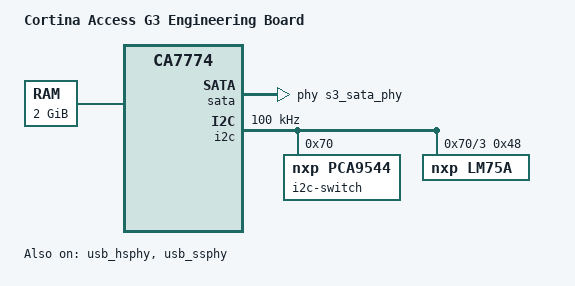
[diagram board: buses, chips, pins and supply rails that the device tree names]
/*
 * dts file for Cortina Access G3 ASIC Development Board
 *
 * Copyright (C) 2017, Cortina Access
 *
 */

/dts-v1/;

#include <dt-bindings/gpio/gpio.h>
#include "ca7774-soc_asic.dtsi"
#include "ca7774-soc-clks.dtsi"
#include "ca77xx-nand.dtsi"
#include "ca77xx-crypto.dtsi"
#include "ca77xx-led.dtsi"

/* board specific and SoC overrides below */
/ {
	model = "Cortina Access G3 Engineering Board";
	compatible = "cortina,g3fpga", "cortina,ca7774";
	#address-cells = <2>;
	#size-cells = <2>;
	interrupt-parent = <&gic>;

	aliases {
		serial0 = &uart0;
		serial1 = &uart1;
                ethernet0 = &eth0;
                ethernet1 = &eth1;
	};

	memory { /* 2GB */
		device_type = "memory";
		reg = <0x0 0x00000000 0x0 0x80000000>;
	};

	ca_peri{
		compatible = "cortina,ca-peri";
		reg = <0x0 0xf4329018 0x0 0x400>,
		      <0x0 0xf4320000 0x0 0x60>;
		interrupt-parent = <&per_ictl>;
		interrupts = <2>; 
		interrupt-names = "TMR1";
	};

#if 0		/* Enable below node if UART2/3 are necessary */
	uart2: uart@f43291a8 {
		device_type = "serial";
		compatible = "cortina,serial";
		reg = <0x00000000 0xf43291a8 0x0 0x30>;	/* UART base address */
		clocks = <&apb_pclk>;
		interrupts = <GIC_SPI IRQ_GLB_UART2 IRQ_TYPE_LEVEL_HIGH>;
		pinctrl-0 = <&uart2_default>;
		pinctrl-names = "default";
	};
	uart3: uart@f43291d8 {
		device_type = "serial";
		compatible = "cortina,serial";
		reg = <0x00000000 0xf43291d8 0x0 0x30>;	/* UART base address */
		clocks = <&apb_pclk>;
		interrupts = <GIC_SPI IRQ_GLB_UART3 IRQ_TYPE_LEVEL_HIGH>;
		pinctrl-0 = <&uart3_default>;
		pinctrl-names = "default";
	};
#endif

#if 0
	/* APB clock varies based on G3 config */
	/* TODO: develop clock driver to switch between freq. for now use fixed freq. */
	apb_pclk: g3_apb_pclk {
		compatible = "fixed-clock";
		#clock-cells = <0>;
		clock-frequency = <125000000>;
	};
#endif

	sd_clk: g3_sd_clk {
		compatible = "fixed-clock";
		#clock-cells = <0>;
		clock-frequency = <50000000>;
	};

#if 0
	/* SD clock provides 50/100/200 Mhz */
	/* TODO: develop clock driver to switch between this freq. for now use fixed freq. */
	sd_clk: g3_sd_clk {
		compatible = "fixed-clock";
		#clock-cells = <0>;
		clock-frequency = <50000000>;
	};
	/* PCIe clock provides 250 Mhz */
	pcie_clk: g3_pcie_clk {
		compatible = "fixed-clock";
		#clock-cells = <0>;
		clock-frequency = <250000000>;
	};
	/* PCIe BUS clock provides 250 Mhz */
	pcie_bclk: g3_pcie_bclk {
		compatible = "fixed-clock";
		#clock-cells = <0>;
		clock-frequency = <250000000>;
	};

	/* USB 2 clock provides 60 Mhz */
	usb2_clk: g3_usb2_clk {
		compatible = "fixed-clock";
		#clock-cells = <0>;
		clock-frequency = <60000000>;
	};

	smb { /* simple bus */

		uart0: uart@0xf4570114 {
			device_type = "serial";
			compatible = "cortina,serial";
			reg = <0x0 0xf4570114 0x0 0x30>; /* TODO - when memory map available */
			clocks = <&apb_pclk>;
			clock-names = "apb_pclk";
			interrupts = <0 32 0x1>; /* TODO - when interrupt map available */
		};

		uart1: uart@f4570144 {
			device_type = "serial";
			compatible = "cortina,serial";
			reg = <0x0 0xf4570144 0x0 0x30>; /* TODO - when memory map available */
			clocks = <&apb_pclk>;
			interrupts = <0 32 0x1>; /* edge triggered */
		};

	};
#endif

	gpio-reset {
		compatible = "linux,gpio-reset";

		pcie0_device_rst: pcie0_device {
			#reset-cells = <0>;
			/* 255 will inactive this node */
			gpios = <&gpio0 0 GPIO_ACTIVE_LOW>;
			asserted-state = <0>;
			/* device reset pulse width */
			duration-ms = <150>;
		};

		pcie1_device_rst: pcie1_device {
			#reset-cells = <0>;
			/* 255 will inactive this node */
			gpios = <&gpio0 1 GPIO_ACTIVE_LOW>;
			asserted-state = <0>;
			/* device reset pulse width */
			duration-ms = <10>;
		};

		pcie2_device_rst: pcie2_device {
			#reset-cells = <0>;
			/* 255 will inactive this node */
			gpios = <&gpio0 255 GPIO_ACTIVE_LOW>;
			asserted-state = <0>;
			/* device reset pulse width */
			duration-ms = <10>;
		};
	};
};

/* "okay" - turn on, "disabled" - turn off */
&glb_phy {
	/* forced-on; */
};

&pcie0 {
	/* status = "disabled"; */

	resets = <&block_rst PCI0_RESET>, <&dphy_rst PHY_S0_PCIE_RESET>,
		 <&pcie0_device_rst>;
	reset-names = "core_reset", "phy_reset", "device_reset";

	ready-time = /bits/ 16 <150>; /* device with embedded OS system */

	dma-coherent;
	linux,pci-domain = <0>;
	bus-range = <0x0 0x0>; /* save scan time */

	serdes-cfg0 = <0xf4333004 0xa84a>,
		      <0xf4333008 0x6042>,
		      <0xf4333010 0x4000>,	/* BIT13: SSC */
		      <0xf4333018 0x0007>,	/* Icp */
		      <0xf4333024 0x520c>,
		      <0xf4333028 0xd213>,	/* #LEQ adapt, CMU Rs, Cp */
		      <0xf433302c 0x7905>,
		      <0xf4333034 0xf722>,
		      <0xf433303c 0x6000>,
		      <0xf4333044 0x4400>,
		      <0xf4333068 0x0000>,
		      <0xf4333070 0x0420>,
		      <0xf4333080 0x9477>,
		      <0xf4333090 0x0806>,
		      <0xf43330ac 0xa803>,
		      <0xf43330b8 0xfffe>,
		      <0xf4333098 0xc409>,

		      <0xf4333104 0xa84a>,
		      <0xf4333108 0x6042>,
		      <0xf4333110 0x4000>,	/* BIT13: SSC */
		      <0xf4333118 0x0007>,	/* Icp */
		      <0xf4333124 0x520c>,
		      <0xf4333128 0xd213>,	/* #LEQ adapt, CMU Rs, Cp */
		      <0xf433312c 0x7905>,
		      <0xf4333134 0xf722>,
		      <0xf433313c 0x6000>,
		      <0xf4333144 0x4400>,
		      <0xf4333168 0x0000>,
		      <0xf4333170 0x0420>,
		      <0xf4333180 0x9477>,
		      <0xf4333190 0x0806>,
		      <0xf43331ac 0xa803>,
		      <0xf43331b8 0xfffe>,
		      <0xf4333198 0xc409>;

	serdes-cfg1 = <0xf4334004 0xa84a>,
		      <0xf4334008 0x6042>,
		      <0xf4334010 0x4000>,	/* BIT13: SSC */
		      <0xf4334018 0x0007>,	/* Icp */
		      <0xf4334024 0x520c>,
		      <0xf4334028 0xd213>,	/* #LEQ adapt, CMU Rs, Cp */
		      <0xf433402c 0x7905>,
		      <0xf4334034 0xf722>,
		      <0xf433403c 0x6000>,
		      <0xf4334044 0x4400>,
		      <0xf4334068 0x0000>,
		      <0xf4334070 0x0420>,
		      <0xf4334080 0x9477>,
		      <0xf4334090 0x0806>,
		      <0xf43340ac 0xa803>,
		      <0xf43340b8 0xfffe>,
		      <0xf4334098 0xc409>,

		      <0xf4334104 0xa84a>,
		      <0xf4334108 0x6042>,
		      <0xf4334110 0x4000>,	/* BIT13: SSC */
		      <0xf4334118 0x0007>,	/* Icp */
		      <0xf4334124 0x520c>,
		      <0xf4334128 0xd213>,	/* #LEQ adapt, CMU Rs, Cp */
		      <0xf433412c 0x7905>,
		      <0xf4334134 0xf722>,
		      <0xf433413c 0x6000>,
		      <0xf4334144 0x4400>,
		      <0xf4334168 0x0000>,
		      <0xf4334170 0x0420>,
		      <0xf4334180 0x9477>,
		      <0xf4334190 0x0806>,
		      <0xf43341ac 0xa803>,
                      <0xf43341b8 0xfffe>,
		      <0xf4334198 0xc409>;
};

&pcie1 {
	/* status = "disabled"; */

	resets = <&block_rst PCI1_RESET>, <&dphy_rst PHY_S1_PCIE_RESET>,
		 <&pcie1_device_rst>;
	reset-names = "core_reset", "phy_reset", "device_reset";

	ready-time = /bits/ 16 <50>;

	dma-coherent;
	linux,pci-domain = <1>;
	bus-range = <0x0 0x0>; /* save scan time */

	serdes-cfg0 = <0xf4335004 0xa84a>,
		      <0xf4335008 0x6042>,
		      <0xf4335010 0x5000>,	/* BIT13: SSC */
		      <0xf4335018 0x0007>,	/* Icp */
		      <0xf4335024 0x520c>,
		      <0xf4335028 0xd213>,	/* #LEQ adapt, CMU Rs, Cp */
		      <0xf433502c 0x7905>,
		      <0xf4335034 0xf70a>,
		      <0xf4335080 0x9477>,
		      <0xf4335090 0x080c>,
		      <0xf43350ac 0xa803>,
		      <0xf43350bc 0x61bd>,
                      <0xf43350b8 0xfffe>,

		      <0xf4335104 0xa84a>,
		      <0xf4335108 0x6042>,
		      <0xf4335110 0x5000>,	/* BIT13: SSC */
		      <0xf4335118 0x0006>,
		      <0xf4335124 0x520c>,
		      <0xf4335128 0xd213>,	/* #LEQ adapt, CMU Rs, Cp */
		      <0xf433512c 0x7905>,
		      <0xf4335134 0xf70a>,
		      <0xf4335180 0x9477>,
		      <0xf4335190 0x080c>,
		      <0xf43351ac 0xa803>,
		      <0xf43351bc 0x61bd>,
                      <0xf43351b8 0xfffe>;
};

&pcie2 {
	status = "disabled";

	resets = <&block_rst PCI2_RESET>, <&dphy_rst PHY_S2_PCIE_RESET>,
		 <&pcie2_device_rst>;
	reset-names = "core_reset", "phy_reset", "device_reset";

	ready-time = /bits/ 16 <50>;

	/* forced-gen1; */
	dma-coherent;
	linux,pci-domain = <2>;
	bus-range = <0x0 0x0>; /* save scan time */

	serdes-cfg0 = <0xf4336004 0xa84a>,
		      <0xf4336008 0x6042>,
		      <0xf4336010 0x5000>,	/* BIT13: SSC */
		      <0xf4336018 0x0007>,	/* Icp */
		      <0xf4336024 0x520c>,
		      <0xf4336028 0xd213>,	/* #LEQ adapt, CMU Rs, Cp */
		      <0xf433602c 0x7905>,
		      <0xf4336034 0xf70a>,
		      <0xf4336080 0x9477>,
		      <0xf4336090 0x080c>,
		      <0xf43360ac 0xa803>,
		      <0xf43360bc 0x61bd>,

		      <0xf4336104 0xa84a>,
		      <0xf4336108 0x6042>,
		      <0xf4336110 0x5000>,	/* BIT13: SSC */
		      <0xf4336118 0x0006>,
		      <0xf4336124 0x520c>,
		      <0xf4336128 0xd213>,	/* #LEQ adapt, CMU Rs, Cp */
		      <0xf433612c 0x7905>,
		      <0xf4336134 0xf70a>,
		      <0xf4336180 0x9477>,
		      <0xf4336190 0x080c>,
		      <0xf43361ac 0xa803>,
		      <0xf43361bc 0x61bd>;
};

&usb_hsphy {
	status = "okay";
};

&usb_ssphy {
	status = "okay";
};

&sata {
	status = "okay";
	/* dma-coherent; */
	phys = <&s3_sata_phy>;
	phy-names = "sata-phy";
};


&i2c {
	clock-frequency = <100000>;
	timeout = <1000>;
	retries = <3>;

	i2c-switch@70 {
		compatible = "nxp,pca9544";
		#address-cells = <1>;
		#size-cells = <0>;
		reg = <0x70>;
		/* status = "disabled"; */

		i2c@3 {
			#address-cells = <1>;
			#size-cells = <0>;
			reg = <3>;

			lm75a: hwmon@48 {
				compatible = "nxp,lm75a";
				reg = <0x48>;
				/* status = "disabled"; */
			};
		};
	};
};

&led_ctrl {
	hw-blink-rate1 = <256>;
	hw-blink-rate2 = <512>;
};

&led0 {
	active-low;
#if 0
	label = "Port4:Rx";
	linux,default-trigger = "ca_phy4_rx";
	port = <4>;
	default-state = "disabled";
#else
	label = "KDriver:R4";
	linux,default-trigger = "kdriver_r4";
	on,sw;
	default-state = "enabled";
#endif
};

&led1 {
	active-low;
#if 0
	label = "Port5:Rx";
	linux,default-trigger = "ca_phy5_rx";
	port = <5>;
	default-state = "disabled";
#else
	label = "KDriver:R5";
	linux,default-trigger = "kdriver_r5";
	on,sw;
	default-state = "enabled";
#endif
};

&led2 {
	active-low;
#if 0
	label = "Port6:Rx";
	linux,default-trigger = "ca_phy6_rx";
	port = <6>;
	default-state = "disabled";
#else
	label = "UAPP:R6";
	on,sw;
	default-state = "enabled";
#endif
};

&led3 {
	active-low;
#if 0
	label = "Port7:Rx";
	linux,default-trigger = "ca_phy7_rx";
	port = <7>;
	default-state = "disabled";
#else
	label = "UAPP:R7";
	on,sw;
	default-state = "enabled";
#endif
};

&led4 {
	active-low;
#if 0
	label = "Port7:Tx";
	linux,default-trigger = "ca_phy7_tx";
	port = <7>;
	default-state = "disabled";
#else
	label = "UAPP:L7";
	on,sw;
	default-state = "enabled";
#endif
};

&led5 {
	active-low;
#if 0
	label = "Port6:Tx";
	linux,default-trigger = "ca_phy6_tx";
	port = <6>;
	default-state = "disabled";
#else
	label = "UAPP:L6";
	on,sw;
	default-state = "enabled";
#endif
};

&led6 {
	active-low;
#if 0
	label = "Port5:Tx";
	linux,default-trigger = "ca_phy5_tx";
	port = <5>;
	default-state = "disabled";
#else
	label = "KDriver:L5";
	linux,default-trigger = "kdriver_l5";
	on,sw;
	default-state = "enabled";
#endif
};

&led7 {
	active-low;
#if 0
	label = "Port4:Tx";
	linux,default-trigger = "ca_phy4_tx";
	port = <4>;
	default-state = "disabled";
#else
	label = "KDriver:L4";
	linux,default-trigger = "kdriver_l4";
	on,sw;
	default-state = "enabled";
#endif
};

&led8 {
	active-low;
	label = "Port0:Rx";
	linux,default-trigger = "ca_phy0_rx";
	port = <0>;
	default-state = "disabled";
};

&led9 {
	active-low;
	label = "Port1:Rx";
	linux,default-trigger = "ca_phy1_rx";
	port = <1>;
	default-state = "disabled";
};

&led10 {
	active-low;
	label = "Port2:Rx";
	linux,default-trigger = "ca_phy2_rx";
	port = <2>;
	default-state = "disabled";
};

&led11 {
	active-low;
	label = "Port3:Rx";
	linux,default-trigger = "ca_phy3_rx";
	port = <3>;
	default-state = "disabled";
};

&led12 {
	active-low;
	label = "Port3:Tx";
	linux,default-trigger = "ca_phy3_tx";
	port = <3>;
	default-state = "disabled";
};

&led13 {
	active-low;
	label = "Port2:Tx";
	linux,default-trigger = "ca_phy2_tx";
	port = <2>;
	default-state = "disabled";
};

&led14 {
	active-low;
	label = "Port1:Tx";
	linux,default-trigger = "ca_phy1_tx";
	port = <1>;
	default-state = "disabled";
};

&led15 {
	active-low;
	label = "Port0:Tx";
	linux,default-trigger = "ca_phy0_tx";
	port = <0>;
	default-state = "disabled";
};

#if 0
&s0_pcie_phy {
	serdes-cfg = <0xf4333004 0xa80a>,
		     <0xf4333010 0x4000>,
		     <0xf4333018 0x001f>,
		     <0xf4333024 0x520c>,
		     <0xf4333028 0xd673>,
		     <0xf433302c 0x7905>,
		     <0xf4333034 0xf722>,
		     <0xf433303c 0x6000>,
		     <0xf4333068 0x0000>,
		     <0xf4333080 0x9477>,
		     <0xf4333090 0x080c>,
		     <0xf43330ac 0xa803>,

		     <0xf4333104 0xa80a>,
		     <0xf4333110 0x4000>,
		     <0xf4333118 0x001f>,
		     <0xf4333124 0x520c>,
		     <0xf4333128 0xd673>,
		     <0xf433312c 0x7905>,
		     <0xf4333134 0xf722>,
		     <0xf433313c 0x6000>,
		     <0xf4333168 0x0000>,
		     <0xf4333180 0x9477>,
		     <0xf4333190 0x080c>,
		     <0xf43331ac 0xa803>,

		     <0xf4334004 0xa80a>,
		     <0xf4334010 0x4000>,
		     <0xf4334018 0x001f>,
		     <0xf4334024 0x520c>,
		     <0xf4334028 0xd673>,
		     <0xf433402c 0x7905>,
		     <0xf4334034 0xf722>,
		     <0xf433403c 0x6000>,
		     <0xf4334068 0x0000>,
		     <0xf4334080 0x9477>,
		     <0xf4334090 0x080c>,
		     <0xf43340ac 0xa803>,

		     <0xf4334104 0xa80a>,
		     <0xf4334110 0x4000>,
		     <0xf4334118 0x001f>,
		     <0xf4334124 0x520c>,
		     <0xf4334128 0xd673>,
		     <0xf433412c 0x7905>,
		     <0xf4334134 0xf722>,
		     <0xf433413c 0x6000>,
		     <0xf4334168 0x0000>,
		     <0xf4334180 0x9477>,
		     <0xf4334190 0x080c>,
		     <0xf43341ac 0xa803>;
};
#endif

&spi0 {
	/* chip select# generated by GPIO */
	/* cs-gpios = <&gpio2 3>, <&gpio0 4>, <&gpio0 5>, <&gpio0 6>, <&gpio0 7>; */
};

